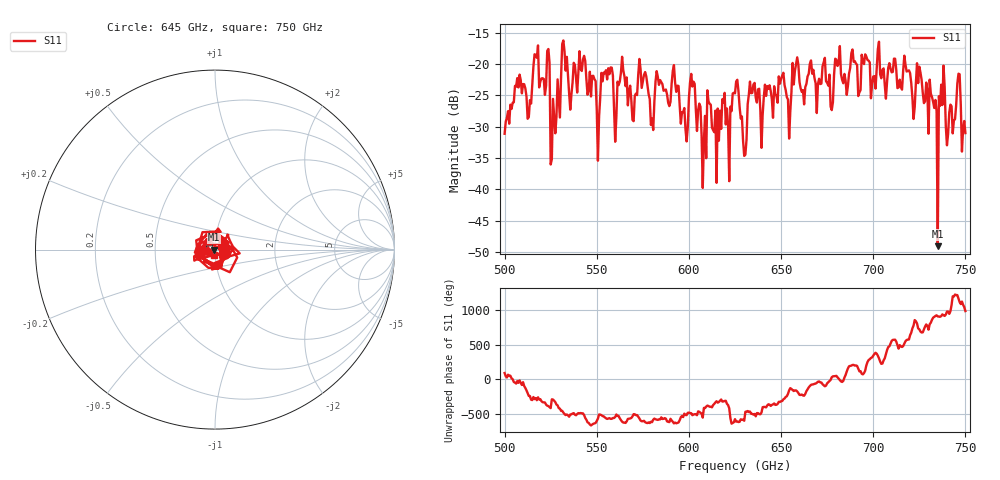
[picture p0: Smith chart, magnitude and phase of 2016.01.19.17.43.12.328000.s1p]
!Created with skrf (http://scikit-rf.org).
# GHz S RI R 50.0
!freq ReS11 ImS11
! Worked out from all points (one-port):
!   401 points, 500 GHz to 750 GHz, reference 50 ohm
!   lowest |S11| = -49.1 dB at 735 GHz (marker M1), VSWR 1.01, Z = 49.7 - j0.0223 ohm
!   |S11| at or under -10 dB: start of sweep to end of sweep
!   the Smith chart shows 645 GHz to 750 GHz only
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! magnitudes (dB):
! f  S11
! 500 GHz  -31.1
! 507.5 GHz  -23.7
! 513.8 GHz  -25.8
! 516.9 GHz  -18.5
! 523.1 GHz  -17.9
! 526.2 GHz  -25.6
! 531.2 GHz  -16.8
! 541.9 GHz  -21.1
! 550.6 GHz  -35.4
! 562.5 GHz  -22.8
! 580 GHz  -28.7
! 593.8 GHz  -23.4
! 598.1 GHz  -30.4
! 601.9 GHz  -23.6
! 608.1 GHz  -32.2
! 611.2 GHz  -26.3
! 621.2 GHz  -29.8
! 625 GHz  -24.7
! 630 GHz  -34.7
! 634.4 GHz  -24.6
! 656.2 GHz  -19.8
! 687.5 GHz  -20.6
! 718.8 GHz  -21.1
! 735 GHz  -49.1
! 736.9 GHz  -23.3
! 740.6 GHz  -31.2
! 746.2 GHz  -21.5
! 750 GHz  -31.0
